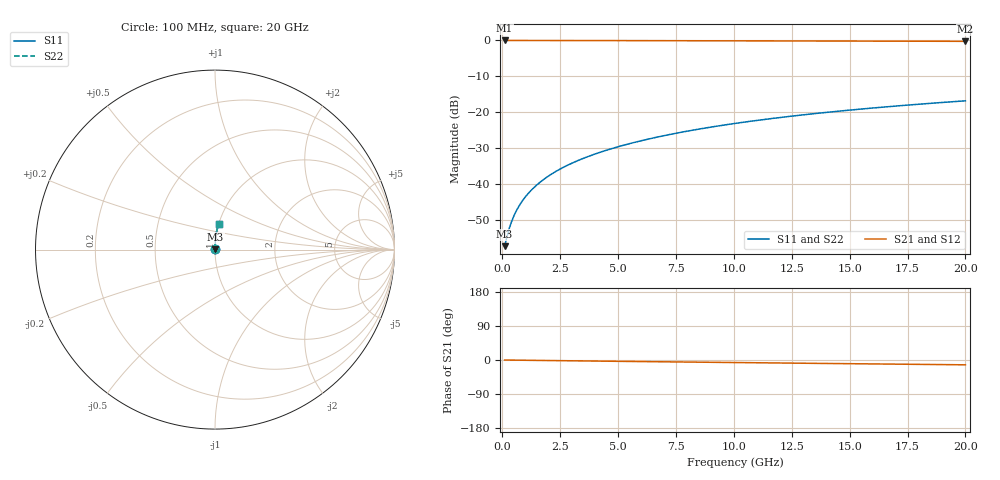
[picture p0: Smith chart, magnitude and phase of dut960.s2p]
! Touchstone file exported from HFSS 2024.1.0
!  File:  C:/UserFiles/LocalFiles/RDL_TSV_Batchsim/temp_RDL_bottom_960_1779942585.aedt
!  Generated:  12:32:07 PM May 28, 2026
!  Design:  RDL_bottom
!  Project:  temp_RDL_bottom_960_1779942585
!  Setup:  Setup1
!  Solution:  Sweep
! Variables:
!  dtsv = 10.80580581um
!  hbump = 3um
!  htsv = 52.54um
!  ldown = 154.07um
!  lrdl = 100um
!  p = 40
!  p1 = 43.27um
!  rhole = 1um
!  t = 450um
!  tdown = 2.97um
!  trdl = 3.915915916um
!  wdown = 20.13um
!  wrdl = 20um
# GHz S MA R 50.000000
! Terminal data exported
! Port[1] = RDL1_T1
! Port[2] = RDL1_T2
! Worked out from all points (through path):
!   200 points, 100 MHz to 20 GHz, reference 50 ohm
!   highest |S21| = -0.01 dB at 100 MHz (marker M1); lowest = -0.3 dB at 20 GHz (marker M2)
!   group delay of S21, straight-line fit = 1.75 ps
!   lowest |S11| = -57.3 dB at 100 MHz (marker M3), VSWR 1.00, Z = 50.1 + j0.0704 ohm
!   |S11| at or under -10 dB: start of sweep to end of sweep
!   |S22| runs from -57.3 to -16.8 dB; largest |S21 - S12| = 3.4e-15
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0.1  0.001368 30.9  0.9988 -0.1  0.9988 -0.1  0.001368 30.9
! Gamma 0 0 0 0
! Port Impedance 50 0 50 0
0.2  0.001842 49.0  0.9988 -0.2  0.9988 -0.2  0.001842 49.0
0.3  0.002408 58.8  0.9987 -0.2  0.9987 -0.2  0.002408 58.8
0.4  0.003002 64.6  0.9987 -0.3  0.9987 -0.3  0.003002 64.6
0.5  0.003604 68.5  0.9986 -0.4  0.9986 -0.4  0.003604 68.5
0.6  0.00421 71.4  0.9986 -0.4  0.9986 -0.4  0.00421 71.4
0.8  0.00543 75.4  0.9985 -0.6  0.9985 -0.6  0.00543 75.4
1.1  0.007284 79.1  0.9983 -0.8  0.9983 -0.8  0.007284 79.1
1.3  0.008534 80.7  0.9982 -0.9  0.9982 -0.9  0.008534 80.7
1.6  0.01043 82.6  0.9981 -1.1  0.9981 -1.1  0.01043 82.6
2.1  0.01363 84.6  0.9977 -1.5  0.9977 -1.5  0.01363 84.6
2.7  0.01753 86.1  0.9972 -1.9  0.9972 -1.9  0.01753 86.1
3.5  0.02284 87.3  0.9964 -2.5  0.9964 -2.5  0.02284 87.3
4.2  0.02758 88.0  0.9955 -3.0  0.9955 -3.0  0.02758 88.0
5  0.03311 88.4  0.9945 -3.5  0.9945 -3.5  0.03311 88.4
5.9  0.03945 88.6  0.9932 -4.1  0.9932 -4.1  0.03945 88.6
6.8  0.04592 88.6  0.9918 -4.7  0.9918 -4.7  0.04592 88.6
8.4  0.05764 88.2  0.9894 -5.7  0.9894 -5.7  0.05764 88.2
10.1  0.0703 87.5  0.9867 -6.8  0.9867 -6.8  0.0703 87.5
13.4  0.09513 85.5  0.9816 -8.8  0.9816 -8.8  0.09513 85.5
16.7  0.1199 83.3  0.9766 -10.8  0.9766 -10.8  0.1199 83.3
20  0.1443 81.0  0.9715 -12.7  0.9715 -12.7  0.1443 81.0
